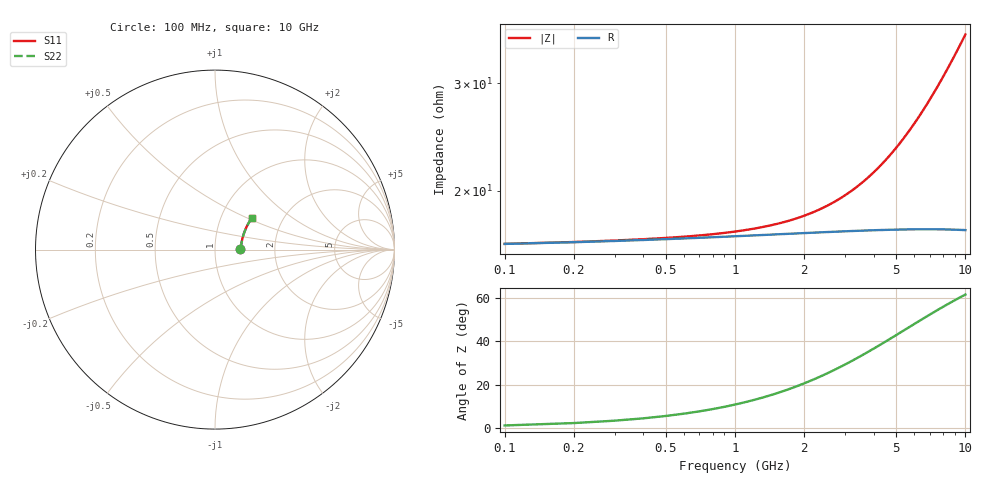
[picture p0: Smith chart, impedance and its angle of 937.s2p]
# Hz S RI R 50.00
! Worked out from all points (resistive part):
!   100 points, 100 MHz to 10 GHz, reference 50 ohm
!   read as one part in series: R = 16.3 ohm at 100 MHz
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1e8  0.1405 0.00198  0.8595 -0.00273  0.8595 -0.00273  0.1405 0.00198
2e8  0.1413 0.00395  0.8587 -0.00544  0.8587 -0.00544  0.1413 0.00395
3e8  0.1419 0.00592  0.8581 -0.00816  0.8581 -0.00816  0.1419 0.00592
6e8  0.1432 0.0118  0.8568 -0.0163  0.8568 -0.0163  0.1432 0.0118
1e9  0.1446 0.0196  0.8553 -0.0271  0.8553 -0.0271  0.1446 0.0196
1.3e9  0.1456 0.0254  0.8543 -0.0351  0.8543 -0.0351  0.1456 0.0254
1.6e9  0.1467 0.0312  0.8533 -0.0432  0.8533 -0.0432  0.1467 0.0312
1.8e9  0.1473 0.0351  0.8525 -0.0485  0.8525 -0.0485  0.1473 0.0351
2.2e9  0.1488 0.0427  0.851 -0.0592  0.851 -0.0592  0.1488 0.0427
2.6e9  0.1504 0.0504  0.8494 -0.0698  0.8494 -0.0698  0.1504 0.0504
3e9  0.1521 0.058  0.8476 -0.0804  0.8476 -0.0804  0.1521 0.058
3.4e9  0.1539 0.0655  0.8457 -0.0909  0.8457 -0.0909  0.1539 0.0655
3.7e9  0.1554 0.0711  0.8441 -0.0987  0.8441 -0.0987  0.1554 0.0711
4.1e9  0.1576 0.0785  0.8419 -0.1092  0.8419 -0.1092  0.1576 0.0785
4.6e9  0.1604 0.0877  0.8389 -0.1221  0.8389 -0.1221  0.1604 0.0877
5.1e9  0.1636 0.0968  0.8356 -0.1349  0.8356 -0.1349  0.1636 0.0968
5.9e9  0.1691 0.1111  0.8298 -0.1552  0.8298 -0.1552  0.1691 0.1111
6.7e9  0.1753 0.125  0.8234 -0.1751  0.8234 -0.1751  0.1753 0.125
7.6e9  0.1829 0.1401  0.8153 -0.197  0.8153 -0.197  0.1829 0.1401
8.4e9  0.1904 0.1532  0.8075 -0.216  0.8075 -0.216  0.1904 0.1532
9.2e9  0.1984 0.1657  0.799 -0.2346  0.799 -0.2346  0.1984 0.1657
1e10  0.2069 0.1778  0.79 -0.2527  0.79 -0.2527  0.2069 0.1778
